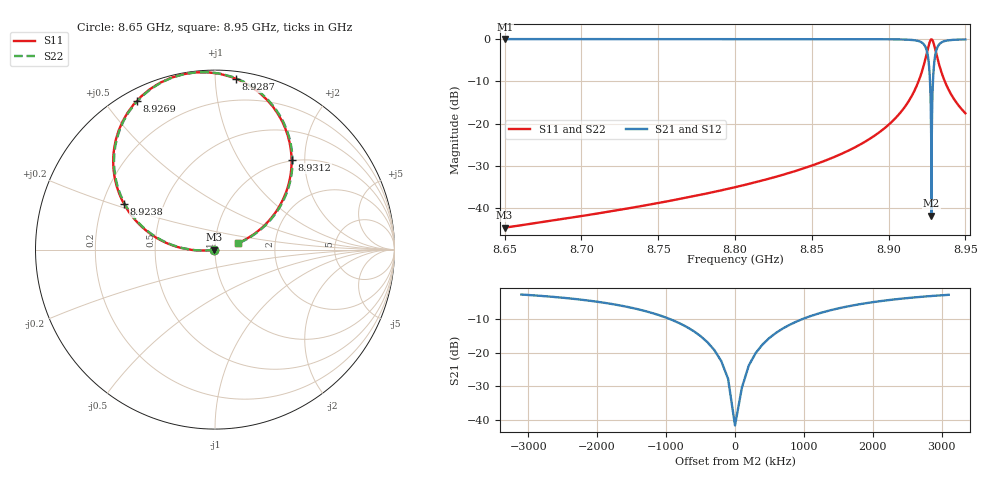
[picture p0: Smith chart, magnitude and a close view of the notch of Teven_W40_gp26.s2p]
! Sonnet Data File
! From: emgraph Version : 16.52
! From Project: transmon_trial
! Data is De-embedded
! Data File Written: 10/20/2017 09:13:08
!< HDATE 10/19/2017 20:03:37
!< MDATE 10/19/2017 20:10:25
!< PARAMS
!< Lj = 15.24
!< Gap = 26.0
!< Width = 40.0
!< Airgap = 24.0
!< Pwidth = 2000.0
!< END PARAMS
# GHZ S MA R 51.00000
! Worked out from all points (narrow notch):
!   3001 points, 8.65 GHz to 8.95 GHz, reference 51 ohm
!   highest |S21| = 0.00 dB at 8.6503 GHz (marker M1); lowest = -41.7 dB at 8.9279 GHz (marker M2)
!   notch at M2: 41.7 dB deep, 530 kHz wide at half that depth
!   lowest |S11| = -44.5 dB at 8.65 GHz (marker M3), VSWR 1.01, Z = 50.4 - j0.0769 ohm
!   |S11| at or under -10 dB: start of sweep to 8.9195 GHz; 8.936612 GHz to end of sweep
!   |S22| runs from -44.5 to -0.1 dB; largest |S21 - S12| = 0
!   S11 on the Smith chart (normalised r, x): 8.65 GHz: 0.99, -0.00; 8.9238 GHz: 0.29, +0.22; 8.9269 GHz: 0.04, +0.60; 8.9287 GHz: 0.05, +1.13; 8.9312 GHz: 0.98, +1.73; 8.95 GHz: 1.29, +0.09
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8.65  0.005926 -172.6  1 -79.9  1 -79.9  0.005926 -167.2
!< P1 F=8.65 Eeff=(6.44261619 -3.0744e-5) Z0=(50.478933 1.09474e-4) R=0.0 C=0.0
!< P2 F=8.65 Eeff=(6.44261619 -3.0744e-5) Z0=(50.478933 1.09474e-4) R=0.0 C=0.0
8.6503  0.005937 -172.6  1 -79.9  1 -79.9  0.005937 -167.2
8.7  0.008119 -172.4  1 -80.5  1 -80.5  0.008119 -168.6
8.75  0.01158 -172.5  0.9999 -81.2  0.9999 -81.2  0.01158 -169.9
8.8  0.0178 -172.7  0.9998 -82.0  0.9998 -82.0  0.0178 -171.3
8.85  0.03206 -173.6  0.9995 -83.3  0.9995 -83.3  0.03206 -173.0
8.8792  0.05396 -174.9  0.9985 -84.8  0.9985 -84.8  0.05396 -174.7
8.9  0.09728 -177.4  0.9952 -87.5  0.9952 -87.5  0.09728 -177.6
8.9105  0.1575 179.1  0.9874 -91.0  0.9874 -91.0  0.1575 178.7
8.9181  0.2754 172.1  0.9608 -98.0  0.9608 -98.0  0.2754 171.6
8.9215  0.4031 164.2  0.914 -105.9  0.914 -105.9  0.4031 163.8
8.9238  0.5668 153.4  0.8214 -116.6  0.8214 -116.6  0.5668 152.9
8.9257  0.7863 135.8  0.6115 -134.0  0.6115 -134.0  0.7863 135.3
8.9269  0.937 117.6  0.3334 -151.7  0.3334 -151.7  0.937 117.1
8.9279  0.9938 98.4  0.008184 -123.0  0.008184 -123.0  0.9938 97.9
8.9287  0.9589 82.9  0.2628 -8.7  0.2628 -8.7  0.9589 82.3
8.9292  0.9079 74.1  0.407 -17.0  0.407 -17.0  0.9078 73.5
8.93  0.8058 62.3  0.5854 -28.5  0.5854 -28.5  0.8058 61.7
8.9312  0.6569 49.5  0.7505 -41.1  0.7505 -41.1  0.6569 48.9
8.9334  0.465 36.0  0.8838 -54.5  0.8838 -54.5  0.465 35.4
8.9365  0.3199 26.9  0.9468 -63.6  0.9468 -63.6  0.3199 26.2
8.95  0.133 15.8  0.991 -74.7  0.991 -74.7  0.133 14.9
